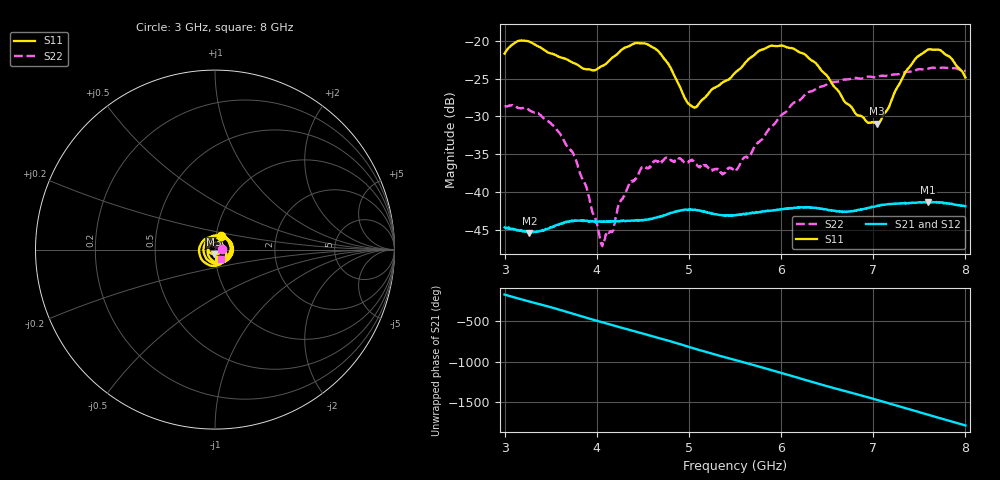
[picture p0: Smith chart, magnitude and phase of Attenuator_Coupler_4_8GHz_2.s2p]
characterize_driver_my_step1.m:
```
clc
clear
clear all;

% frequency settings 
f_start =4.7e9;
f_stop =5.3e9;
f_step =0.1e9;

% desired characterization power range (in dBm) at the output of the driver
p_min = 18;
p_max = 20;
p_step = 1;
p_epsilon = 0.1; % error tolerance

% the driver's approximate gain
gain_est = -1;

% it is important to set the signal generator's maximum allowable input to
% avoid damaging the driver during the automatic sweep
%% in step1, the testing are conducted without the driver, and the data are used to calibrate the power meter
SG=SignalGenerator_E8267D(19,20);
% create the power meter
PM=PowerMeter_N1911A(15);
% create the attenuator
ATN=Attenuator('Attenuator_Coupler_4_8GHz_2.s2p');
% ATN=Attenuator('Attenuator_WilkAeroflex_33dB_Oct31.s2p');

% connect to the instruments
SG.connect;
PM.connect;

% preset the instruments
% SG.preset;
PM.preset;

f_points = 1+(f_stop-f_start)/f_step;
p_points = 1+(p_max-p_min)/p_step;

% pre-allocate memory for the data
data(1:f_points) = struct( 'frequency', 0, 'ssg', 0, 'p_max', p_max, 'p_min', p_min, 'p_step', p_step, 'table', zeros(p_points,4));

for freq=f_start:f_step:f_stop
    f_idx = 1+(freq-f_start)/f_step;
    fprintf('Frequency is %g Hz (%d of %d)\n', freq, f_idx, f_points);
    SG.frequency(freq);
    PM.frequency(freq);
    PM.offset(ATN.attenuation(freq));
    fprintf('Attenuation at %g Hz is %g dB\n', freq, ATN.attenuation(freq));
    %PM.offset(0);
   %  PM.zero_and_cal;
    
    
    data(f_idx).frequency = freq;
    %   gain = gain_est; % set initial gain to the driver gain estimate
    %SG.power(0);
    %SG.rf(1);
    for p_target=p_min:p_step:p_max
        p_idx = 1+(p_target-p_min)/p_step;
        p_sg=p_target;
        SG.power(p_sg);
        p_in = SG.power; % read what the actual input power is 
        fprintf('SG power is %02.2f ', p_in);
        SG.rf(1);
        pause(3)
        p_out = PM.measure;
        SG.rf(0);
        fprintf('p_out is %2.4f\n ',p_out);
        gain = p_out-p_in;
%         
        % create the data table
        data(f_idx).table(p_idx,1) = p_in;
        data(f_idx).table(p_idx,2) = p_out;
        data(f_idx).table(p_idx,3) = p_target;
        data(f_idx).table(p_idx,4) = gain; 
    end
        % determine the small signal gain from first 10 gain values
     data(f_idx).ssg = mean(data(f_idx).table(1:3,4));
end
data_file_name = [ 'driver_data_step1_' datestr(now,'yyyy-mm-dd-HH-MM' )];
save(data_file_name, 'data');        
%
Pin1=-20;
Pout1=[-21.4 -21.5 -22.2 -21.5 -21.8 -22.1 -21.85]
Cable_loss=Pin1-Pout1;
%
for freq=f_start:f_step:f_stop
    i = 1+(freq-f_start)/f_step;
    Att_out(i)=ATN.attenuation(freq);
    x(i)=-data(i).table(3,4);
    Att_actual(i)=-data(i).table(3,4)+Att_out(i);
    Att_out_actual(i)=Att_actual(i)-Cable_loss(i); 
    Delta(i)=Att_out_actual(i)-Att_out(i);
end
x
Att_out
Att_out_actual
%     for p_target=p_min:p_step:p_max
%         p_idx = 1+(p_target-p_min)/p_step;
%         err = 1000;
%         p_sg = p_target-gain;
%         
%         max_tries = 15;
%         tries = 0;
%         while (abs(err) > p_epsilon)
%             SG.power(p_sg);
%             p_in = SG.power; % read what the actual input power is 
%             fprintf('SG power is %02.2f ', p_in);
%             SG.rf(1);
%             p_out = PM.measure;
%             SG.rf(0);
%             fprintf('p_out is %2.4f ',p_out);
%             err = p_out-p_target;
%             fprintf('error is %+1.6f\n',err);
%             
%             if(tries > 5)
%                 fprintf('NOTICE: see-sawing detected! slow converage system activated!\n');
%                 p_sg = p_in-err/2; % to counter see-sawing effect
%             else
%                 p_sg = p_in-err;            
%             end
%             
%             tries = tries+1;
%             if(tries > max_tries)
%                 error('maximum attempts exceeded while trying to obtain power level = %g dBm at frequency %g.\nDriver may be unstable', p_target, freq);
%             end
%         end
%         gain = p_out-p_in;
%         
%         % create the data table
%         data(f_idx).table(p_idx,1) = p_in;
%         data(f_idx).table(p_idx,2) = p_out;
%         data(f_idx).table(p_idx,3) = p_target;
%         data(f_idx).table(p_idx,4) = gain;                          
%     end
%     % determine the small signal gain from first 10 gain values
%     data(f_idx).ssg = mean(data(f_idx).table(1:10,4));
% end
% 
% data_file_name = [ 'driver_data_' datestr(now,'yyyy-mm-dd-HH-MM' )];
% save(data_file_name, 'data');
```
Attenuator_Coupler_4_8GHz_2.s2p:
!Keysight Technologies,N5247A,US56070658,Z.10.62.16
!Date: Tuesday, August 15, 2017 17:07:40
!Correction: S11(Full 2 Port(1,2))
!S21(Full 2 Port(1,2))
!S12(Full 2 Port(1,2))
!S22(Full 2 Port(1,2))
!S2P File: Measurements: S11, S21, S12, S22:
# Hz S  dB  R 50
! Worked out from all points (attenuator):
!   1001 points, 3 GHz to 8 GHz, reference 50 ohm
!   highest |S21| = -41.29 dB at 7.595 GHz (marker M1); lowest = -45.4 dB at 3.27 GHz (marker M2)
!   lowest |S11| = -31.0 dB at 7.04 GHz (marker M3), VSWR 1.06, Z = 49.1 - j2.67 ohm
!   |S11| at or under -10 dB: start of sweep to end of sweep
!   |S22| runs from -47.1 to -23.5 dB; largest |S21 - S12| = 0.00013
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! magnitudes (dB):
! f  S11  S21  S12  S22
! 3 GHz  -21.7  -44.7  -44.7  -28.7
! 3.27 GHz  -20.1  -45.4  -45.3  -29.2
! 3.745 GHz  -22.9  -43.9  -43.7  -34.9
! 4.06 GHz  -23.3  -43.9  -43.9  -47.1
! 4.5 GHz  -20.4  -43.7  -43.7  -36.7
! 5.05 GHz  -28.8  -42.3  -42.3  -35.9
! 5.5 GHz  -24.2  -43.1  -43.0  -37.2
! 6.13 GHz  -21.0  -42.1  -42.1  -28.3
! 7.04 GHz  -31.0  -41.8  -41.8  -24.8
! 7.595 GHz  -21.2  -41.3  -41.3  -23.7
! 8 GHz  -24.9  -41.9  -41.9  -24.0
